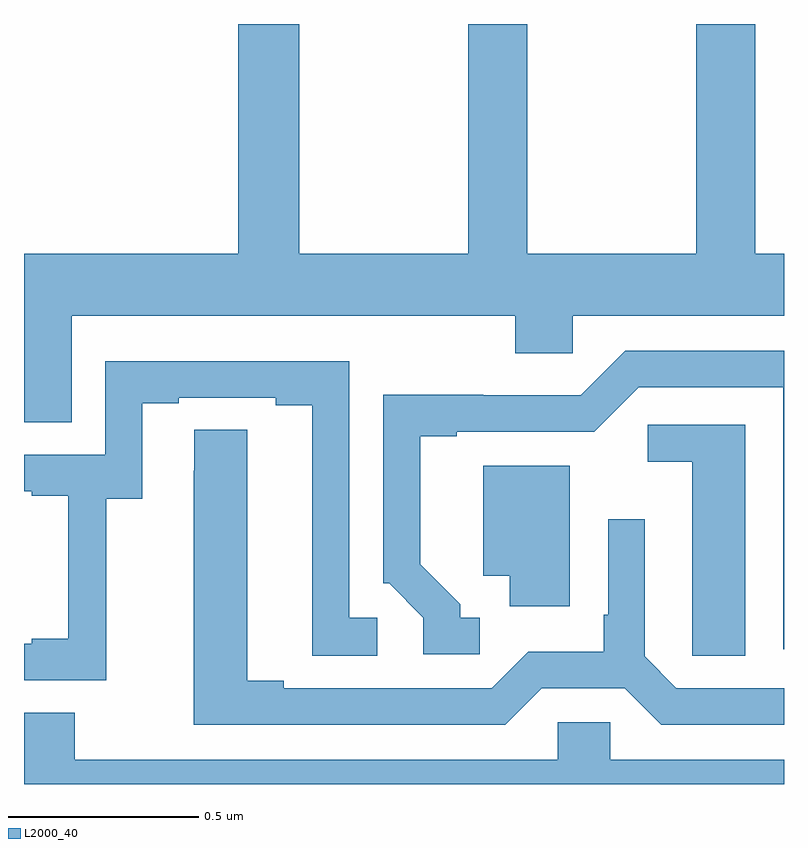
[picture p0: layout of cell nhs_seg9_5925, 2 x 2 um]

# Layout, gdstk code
import gdstk
lib = gdstk.Library(unit=1e-6, precision=1e-09)
def P(c, l, *ps):  # polygons
    for p in ps: c.add(gdstk.Polygon(p, *l))
L2000_40 = (2000, 40)

nhs_seg9_5925 = lib.new_cell('nhs_seg9_5925')
P(nhs_seg9_5925, L2000_40, [(185.125,1217.732),(186.293,1217.732),(186.293,1217.634),(186.444,1217.634),(186.444,1217.732),(187,1217.732),(187,1217.896),(186.924,1217.896),(186.924,1218.5),(186.769,1218.5),(186.769,1217.896),(186.324,1217.896),(186.324,1218.5),(186.169,1218.5),(186.169,1217.896),(185.724,1217.896),(185.724,1218.5),(185.564,1218.5),(185.564,1217.896),(185,1217.896),(185,1217.452),(185.125,1217.452)],
  [(186.199,1216.938),(186.148,1216.938),(186.148,1216.973),(186.043,1217.078),(186.043,1217.415),(186.139,1217.415),(186.139,1217.427),(186.501,1217.427),(186.618,1217.544),(186.998,1217.544),(186.998,1216.854),(187,1216.854),(187,1217.64),(186.582,1217.64),(186.465,1217.523),(186.209,1217.523),(186.209,1217.525),(185.946,1217.525),(185.946,1217.028),(185.961,1217.028),(186.051,1216.938),(186.051,1216.842),(186.199,1216.842)],
  [(185.217,1217.251),(185.311,1217.251),(185.311,1217.502),(185.407,1217.502),(185.407,1217.517),(185.663,1217.517),(185.663,1217.497),(185.759,1217.497),(185.759,1216.837),(185.929,1216.837),(185.929,1216.938),(185.856,1216.938),(185.856,1217.613),(185.214,1217.613),(185.214,1217.367),(185,1217.367),(185,1217.271),(185.021,1217.271),(185.021,1217.259),(185.117,1217.259),(185.117,1216.882),(185.021,1216.882),(185.021,1216.869),(185,1216.869),(185,1216.773),(185.217,1216.773)],
  [(186.898,1217.445),(186.642,1217.445),(186.642,1217.348),(186.758,1217.348),(186.758,1216.945),(186.759,1216.945),(186.759,1216.837),(186.898,1216.837)],
  [(186.363,1216.752),(186.581,1216.752),(186.677,1216.656),(187,1216.656),(187,1216.752),(186.717,1216.752),(186.633,1216.836),(186.633,1217.197),(186.537,1217.197),(186.537,1216.945),(186.525,1216.945),(186.525,1216.848),(186.327,1216.848),(186.231,1216.752),(185.683,1216.752),(185.683,1216.772),(185.587,1216.772),(185.587,1217.432),(185.448,1217.432),(185.448,1217.324),(185.447,1217.324),(185.447,1216.656),(186.267,1216.656)],
  [(186.436,1217.338),(186.209,1217.338),(186.209,1217.048),(186.278,1217.048),(186.278,1216.968),(186.436,1216.968)],
  [(187,1216.564),(186.543,1216.564),(186.543,1216.662),(186.405,1216.662),(186.405,1216.564),(185.133,1216.564),(185.133,1216.688),(185,1216.688),(185,1216.5),(187,1216.5)])

lib.write_gds('nhs_seg9_5925.gds')
